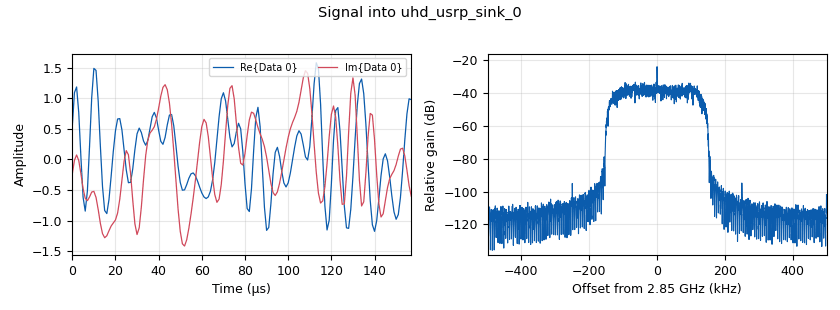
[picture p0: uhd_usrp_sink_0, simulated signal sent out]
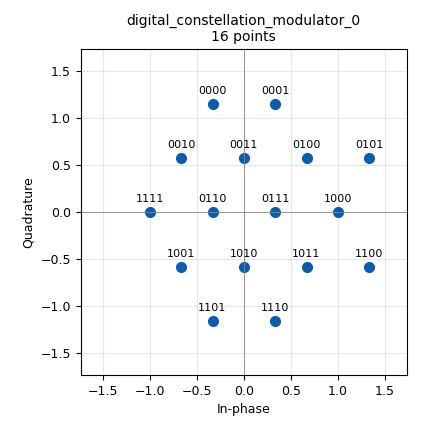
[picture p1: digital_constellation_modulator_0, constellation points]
options:
  parameters:
    author: JaganMohan
    category: Custom
    description: 16-HexQAM simulation using native GRC blocks with custom constellation
    generate_options: qt_gui
    id: tx_hardware
    output_language: python
    title: 16-HQAM Hardware Transmitter
  states: {}

blocks:
- name: Alpha
  id: variable
  parameters:
    value: '0.22'
  states: {}
- name: center_freq
  id: variable
  parameters:
    value: '2850000000'
  states: {}
- name: hqam_const
  id: variable_constellation
  parameters:
    comment: '16-HexQAM: 16 custom hexagonal IQ points, Es~1'
    const_points: '[-0.3333+1.1547j, 0.3333+1.1547j, -0.6667+0.5774j, 0.0000+0.5774j, 0.6667+0.5774j, 1.3333+0.5774j, -0.3333+1e-10j, 0.3333+1e-10j, 1.0000+1e-10j, -0.6667-0.5774j, 0.0000-0.5774j, 0.6667-0.5774j, 1.3333-0.5774j, -0.3333-1.1547j, 0.3333-1.1547j, -1.0000+1e-09j]'
    dims: '1'
    normalization: digital.constellation.NO_NORMALIZATION
    precision: '8'
    rot_sym: '1'
    sym_map: '[0, 1, 2, 3, 4, 5, 6, 7, 8, 9, 10, 11, 12, 13, 14, 15]'
    type: calcdist
  states: {}
- name: samp_rate
  id: variable
  parameters:
    value: '1000000'
  states: {}
- name: sps
  id: variable
  parameters:
    value: '4'
  states: {}
- name: tx_gain
  id: variable
  parameters:
    value: '40'
  states: {}
- name: analog_random_source_x_0
  id: analog_random_source_x
  parameters:
    max: '255'
    min: '0'
    num_samps: '10000'
    repeat: 'True'
    type: byte
  states: {}
- name: digital_constellation_modulator_0
  id: digital_constellation_modulator
  parameters:
    comment: Maps bytes through hqam_const, applies RRC shaping at sps=4
    constellation: hqam_const
    differential: 'False'
    excess_bw: Alpha
    samples_per_symbol: sps
  states: {}
- name: uhd_usrp_sink_0
  id: uhd_usrp_sink
  parameters:
    ant0: '"TX/RX"'
    center_freq0: center_freq
    gain0: tx_gain
    samp_rate: samp_rate
    sync: pc_clock
    type: fc32
  states: {}

connections:
- [analog_random_source_x_0, '0', digital_constellation_modulator_0, '0']
- [digital_constellation_modulator_0, '0', uhd_usrp_sink_0, '0']

metadata:
  file_format: 1
  grc_version: 3.10.12.0
